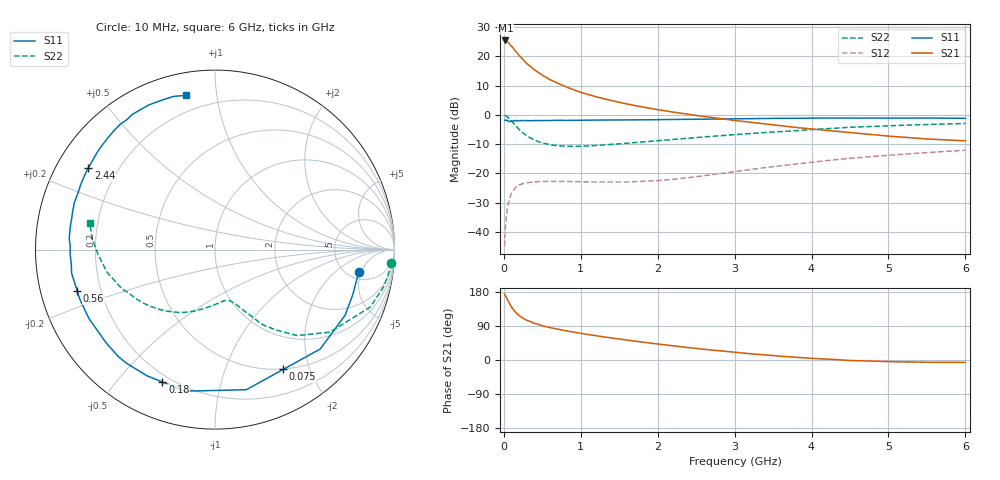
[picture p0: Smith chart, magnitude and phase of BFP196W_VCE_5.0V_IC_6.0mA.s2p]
! Infineon Technologies  Discrete & RF Semiconductors
! BFP196W
! VCE = 5.0 V,  IC = 6.0mA
! Common Emitter S-Parameters:  Jan 2016
# GHz  S  MA  R  50
!  f  S11  S21  S12  S22
! GHz  MAG  ANG  MAG  ANG  MAG  ANG  MAG  ANG
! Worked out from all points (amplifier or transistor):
!   210 points, 10 MHz to 6 GHz, reference 50 ohm
!   highest |S21| = 25.5 dB at 20 MHz (marker M1)
!   |S21| within 3 dB of that: start of sweep to 133.4 MHz
!   unconditionally stable (mu >= 1): 1.384 GHz to 3.32 GHz
!   at 185 MHz: K = 0.16, MSG = 22.5 dB, |S12| = -24.2 dB
!   at 1.52 GHz: K = 1.07, MAG = 11.9 dB, |S12| = -23.0 dB
!   at 6 GHz: K = 0.98, MSG = 1.6 dB, |S12| = -12.1 dB
!   S11 on the Smith chart (normalised r, x): 10 MHz: 6.19, -4.52; 75 MHz: 0.49, -1.61; 180 MHz: 0.17, -0.67; 560 MHz: 0.11, -0.14; 2.44 GHz: 0.09, +0.29; 6 GHz: 0.11, +0.82
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0.01  0.8105 -8.9  18.54 173.8  0.0057 82.0  0.9824 -4.3
0.02  0.8078 -17.9  18.74 170.7  0.0119 82.2  0.9749 -8.5
0.03  0.8119 -26.8  18.51 166.3  0.0173 77.3  0.9621 -12.5
0.05  0.8064 -43.4  17.77 157.3  0.0273 68.1  0.9216 -20.4
0.075  0.7681 -60.3  16.21 149.1  0.0364 58.3  0.8473 -27.4
0.1  0.7999 -77.4  15.04 139.3  0.0462 52.6  0.7882 -35.7
0.15  0.8057 -101.8  12.51 126.0  0.0575 41.4  0.6624 -46.3
0.18  0.7935 -111.7  11.16 120.9  0.061 36.8  0.6003 -50.0
0.2  0.7988 -118.4  10.32 116.7  0.0635 34.0  0.5605 -52.9
0.24  0.8023 -127.8  9.069 111.6  0.0666 29.9  0.5062 -56.8
0.3  0.799 -139.1  7.509 104.6  0.0693 25.3  0.4357 -60.6
0.4  0.8005 -151.3  5.856 96.6  0.0717 20.7  0.3694 -65.3
0.56  0.8012 -163.3  4.309 87.6  0.0729 17.6  0.3181 -70.1
0.8  0.8047 -174.6  3.038 77.2  0.0729 16.1  0.2922 -76.5
1.02  0.8083 178.0  2.392 69.8  0.0719 17.1  0.2921 -82.5
1.4  0.8162 168.3  1.758 58.0  0.071 21.7  0.3138 -92.9
2.02  0.8302 154.9  1.218 41.7  0.0759 34.1  0.3641 -109.4
2.44  0.8398 147.1  1.005 31.9  0.0858 41.7  0.4046 -120.0
3.1  0.8589 135.5  0.777 18.5  0.1117 47.7  0.4696 -136.6
4.1  0.8827 120.1  0.559 3.4  0.1605 46.5  0.5719 -159.6
5.1  0.8836 108.4  0.425 -4.8  0.2084 39.3  0.6589 -179.4
6  0.8744 100.6  0.36 -6.3  0.2487 32.2  0.7134 167.9
